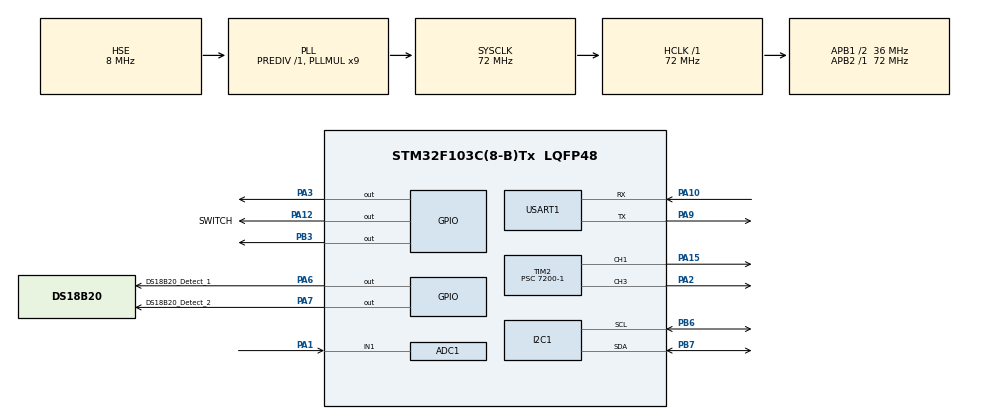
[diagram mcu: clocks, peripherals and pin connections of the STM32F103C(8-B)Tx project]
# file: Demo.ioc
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ADC1.Channel-0\#ChannelRegularConversion=ADC_CHANNEL_1
ADC1.NbrOfConversionFlag=1
ADC1.Rank-0\#ChannelRegularConversion=1
ADC1.SamplingTime-0\#ChannelRegularConversion=ADC_SAMPLETIME_1CYCLE_5
ADC1.master=1
Mcu.Family=STM32F1
Mcu.Name=STM32F103C(8-B)Tx
Mcu.Package=LQFP48
NVIC.PriorityGroup=NVIC_PRIORITYGROUP_4
PA1.Signal=ADCx_IN1
PA10.Mode=Asynchronous
PA10.Signal=USART1_RX
PA12.GPIO_Label=SWITCH
PA12.GPIO_PuPd=GPIO_PULLDOWN
PA12.GPIO_Speed=GPIO_SPEED_FREQ_HIGH
PA12.Signal=GPIO_Output
PA13.Mode=Serial_Wire
PA13.Signal=SYS_JTMS-SWDIO
PA14.Mode=Serial_Wire
PA14.Signal=SYS_JTCK-SWCLK
PA15.Signal=S_TIM2_CH1_ETR
PA2.Signal=S_TIM2_CH3
PA3.GPIO_PuPd=GPIO_PULLDOWN
PA3.Signal=GPIO_Output
PA6.GPIO_Label=DS18B20_Detect_1
PA6.GPIO_PuPd=GPIO_PULLUP
PA6.GPIO_Speed=GPIO_SPEED_FREQ_HIGH
PA6.Signal=GPIO_Output
PA7.GPIO_Label=DS18B20_Detect_2
PA7.GPIO_PuPd=GPIO_PULLUP
PA7.GPIO_Speed=GPIO_SPEED_FREQ_HIGH
PA7.Signal=GPIO_Output
PA9.Mode=Asynchronous
PA9.Signal=USART1_TX
PB3.GPIO_PuPd=GPIO_PULLDOWN
PB3.Signal=GPIO_Output
PB6.Mode=I2C
PB6.Signal=I2C1_SCL
PB7.Mode=I2C
PB7.Signal=I2C1_SDA
PC14-OSC32_IN.Mode=LSE-External-Oscillator
PC14-OSC32_IN.Signal=RCC_OSC32_IN
PC15-OSC32_OUT.Mode=LSE-External-Oscillator
PC15-OSC32_OUT.Signal=RCC_OSC32_OUT
PD0-OSC_IN.Mode=HSE-External-Oscillator
PD0-OSC_IN.Signal=RCC_OSC_IN
PD1-OSC_OUT.Mode=HSE-External-Oscillator
PD1-OSC_OUT.Signal=RCC_OSC_OUT
ProjectManager.HeapSize=0x200
ProjectManager.StackSize=0x400
ProjectManager.TargetToolchain=MDK-ARM V5
RCC.ADCPresc=RCC_ADCPCLK2_DIV6
RCC.AHBFreq_Value=72000000
RCC.APB1CLKDivider=RCC_HCLK_DIV2
RCC.APB1Freq_Value=36000000
RCC.APB1TimFreq_Value=72000000
RCC.APB2Freq_Value=72000000
RCC.APB2TimFreq_Value=72000000
RCC.HCLKFreq_Value=72000000
RCC.PLLMUL=RCC_PLL_MUL9
RCC.PLLSourceVirtual=RCC_PLLSOURCE_HSE
RCC.SYSCLKFreq_VALUE=72000000
RCC.SYSCLKSource=RCC_SYSCLKSOURCE_PLLCLK
RCC.USBFreq_Value=72000000
SH.ADCx_IN1.0=ADC1_IN1,IN1
SH.S_TIM2_CH1_ETR.0=TIM2_CH1,PWM Generation1 CH1
SH.S_TIM2_CH3.0=TIM2_CH3,PWM Generation3 CH3
TIM2.Channel-PWM\ Generation1\ CH1=TIM_CHANNEL_1
TIM2.Channel-PWM\ Generation3\ CH3=TIM_CHANNEL_3
TIM2.Period=100
TIM2.Prescaler=7200-1
TIM2.Pulse-PWM\ Generation1\ CH1=50
TIM2.Pulse-PWM\ Generation3\ CH3=50
TIM3.Prescaler=72
USART1.VirtualMode=VM_ASYNC
VP_TIM2_VS_ClockSourceINT.Mode=Internal
VP_TIM3_VS_ClockSourceINT.Mode=Internal
board=custom

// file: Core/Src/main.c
/* USER CODE BEGIN Header */
/**
  ******************************************************************************
  * @file           : main.c
  * @brief          : Main program body
  ******************************************************************************
  * @attention
  *
  * <h2><center>&copy; Copyright (c) 2021 STMicroelectronics.
  * All rights reserved.</center></h2>
  *
  * This software component is licensed by ST under BSD 3-Clause license,
  * the "License"; You may not use this file except in compliance with the
  * License. You may obtain a copy of the License at:
  *                        opensource.org/licenses/BSD-3-Clause
  *
  ******************************************************************************
  */
/* USER CODE END Header */
#include "main.h"
#include "adc.h"
#include "i2c.h"
#include "tim.h"
#include "usart.h"
#include "gpio.h"

/* USER CODE BEGIN Includes */
#include "ds18b20.h"
#include "oled.h"
#include "stdio.h"
#include "addhot.h"
#include "addwind.h"
#include "switch.h"
/* USER CODE END Includes */

void SystemClock_Config(void);

int main(void)
{
  /* USER CODE BEGIN 1 */
	int i = 0;
	int x = 0;
	int y = 0;
	float Temprature_Value_1;
	float Temprature_Value_2;

	int Temprature_Value_1_Integer;
	int Temprature_Value_1_Decimal;
	int Temprature_Value_2_Integer;
	int Temprature_Value_2_Decimal;

	float Temprature_Threshold_Low = 5;
	float Temprature_Threshold_High = 20;

	uint16_t AD_Value = 0;
	float Vol_Value = 0;
	float Cur_Value = 0;

	int Vol_Value_Integer;
	int Vol_Value_Decimal;
	int Cur_Value_Integer;
	int Cur_Value_Decimal;
  /* USER CODE END 1 */

  /* MCU Configuration--------------------------------------------------------*/

  /* Reset of all peripherals, Initializes the Flash interface and the Systick. */
  HAL_Init();

  /* Configure the system clock */
  SystemClock_Config();

  /* Initialize all configured peripherals */
  MX_GPIO_Init();
  MX_ADC1_Init();
  MX_I2C1_Init();
  MX_TIM2_Init();
  MX_TIM3_Init();
  MX_USART1_UART_Init();
  /* USER CODE BEGIN 2 */
	OLED_Init();
	OLED_Clear();

	OLED_ShowChinese(x, y, 2);
	OLED_ShowChinese(x + 1 * 16, y, 3);
	OLED_ShowChinese(x + 2 * 16, y, 0);
	OLED_ShowChinese(x + 3 * 16, y, 1);
	OLED_ShowChar(x + 4 * 16, y, ':', 16);

	OLED_ShowChinese(x, y + 1 * 2, 4);
	OLED_ShowChinese(x + 1 * 16, y + 1 * 2, 5);
	OLED_ShowChinese(x + 2 * 16, y + 1 * 2, 0);
	OLED_ShowChinese(x + 3 * 16, y + 1 * 2, 1);
	OLED_ShowChar(x + 4 * 16, y + 1 * 2, ':', 16);

	OLED_ShowChinese(x, y + 2 * 2, 4);
	OLED_ShowChinese(x + 1 * 16, y + 2 * 2, 6);
	OLED_ShowChinese(x + 2 * 16, y + 2 * 2, 8);
	OLED_ShowChar(x + 3 * 16, y + 2 * 2, ':', 16);

	OLED_ShowChinese(x, y + 3 * 2, 4);
	OLED_ShowChinese(x + 1 * 16, y + 3 * 2, 7);
	OLED_ShowChinese(x + 2 * 16, y + 3 * 2, 8);
	OLED_ShowChar(x + 3 * 16, y + 3 * 2, ':', 16);

	while(DS18B20_1_Init() && DS18B20_2_Init())
	{
		printf("DS18B20接入失败，请重试!\r\n");
		HAL_Delay(500);
	}
	printf("DS18B20接入成功!\r\n");
  /* USER CODE END 2 */

  /* Infinite loop */
  /* USER CODE BEGIN WHILE */
  while (1)
  {
		i += 1;

		HAL_ADC_Start(&hadc1);
		HAL_ADC_PollForConversion(&hadc1,10);

		if(i % 2 == 0)
		{
			Temprature_Value_1 = DS18B20_1_GetTemperture();
			Temprature_Value_2 = DS18B20_2_GetTemperture();

			Temprature_Value_1_Integer = (int)Temprature_Value_1;
			Temprature_Value_1_Decimal = 10 * (Temprature_Value_1 - (int)Temprature_Value_1);

			Temprature_Value_2_Integer = (int)Temprature_Value_2;
			Temprature_Value_2_Decimal = 10 * (Temprature_Value_2 - (int)Temprature_Value_2);

			AD_Value = HAL_ADC_GetValue(&hadc1);
			Vol_Value = AD_Value*(3.3/4096);
			Cur_Value = Vol_Value / 10;

			Vol_Value_Integer = (int)Vol_Value;
			Vol_Value_Decimal = 100 * (Vol_Value - (int)Vol_Value);

			Cur_Value_Integer = (int)Cur_Value;
			Cur_Value_Decimal = 100 * (Cur_Value - (int)Cur_Value);

			printf("======================\r\n");
			printf("环境温度为：%.1fC\r\n",Temprature_Value_1);
			printf("电池温度为：%.1fC\r\n",Temprature_Value_2);
			printf("ADC采集值为: %d\r\n",AD_Value);
			printf("电压值为: %.2fV\r\n",Vol_Value);
			printf("电流值为: %.2fA\r\n",Cur_Value);
			printf("======================\r\n");
		}

		OLED_ShowNum(x + 9 * 8, y, Temprature_Value_1_Integer, 2, 16);
		OLED_ShowChar(x + 11 * 8, y, '.', 16);
		OLED_ShowNum(x + 12 * 8, y, Temprature_Value_1_Decimal, 1, 16);
		OLED_ShowChar(x + 13 * 8, y, 'C', 16);
		OLED_ShowNum(x + 9 * 8, y + 1 * 2, Temprature_Value_2_Integer, 2, 16);
		OLED_ShowChar(x + 11 * 8, y + 1 * 2, '.', 16);
		OLED_ShowNum(x + 12 * 8, y + 1 * 2, Temprature_Value_2_Decimal, 1, 16);
		OLED_ShowChar(x + 13 * 8, y + 1 * 2, 'C', 16);
		OLED_ShowNum(x + 7 * 8, y + 2 * 2, Vol_Value_Integer, 1, 16);
		OLED_ShowChar(x + 8 * 8, y + 2 * 2, '.', 16);
		OLED_ShowNum(x + 9 * 8, y + 2 * 2, Vol_Value_Decimal, 2, 16);
		OLED_ShowChar(x + 11 * 8, y + 2 * 2, 'V', 16);
		OLED_ShowNum(x + 7 * 8, y + 3 * 2, Cur_Value_Integer, 1, 16);
		OLED_ShowChar(x + 8 * 8, y + 3 * 2, '.', 16);
		OLED_ShowNum(x + 9 * 8, y + 3 * 2, Cur_Value_Decimal, 2, 16);
		OLED_ShowChar(x + 11 * 8, y + 3 * 2, 'A', 16);

		if(Temprature_Value_1 >= Temprature_Threshold_High || Temprature_Value_2 >= Temprature_Threshold_High)
		{
			Disconnect();
			AddWind();
		}
		else if(Temprature_Value_2 <= Temprature_Threshold_Low || Temprature_Value_2 <= Temprature_Threshold_Low)
		{
			AddHot();
		}
		else
		{
			HAL_TIM_PWM_Stop(&htim2,TIM_CHANNEL_1);
			HAL_TIM_PWM_Stop(&htim2,TIM_CHANNEL_3);
		}

		HAL_Delay(1000);
    /* USER CODE END WHILE */

  }
}

void SystemClock_Config(void)
{
  RCC_OscInitTypeDef RCC_OscInitStruct = {0};
  RCC_ClkInitTypeDef RCC_ClkInitStruct = {0};
  RCC_PeriphCLKInitTypeDef PeriphClkInit = {0};

  /** Initializes the RCC Oscillators according to the specified parameters
  * in the RCC_OscInitTypeDef structure.
  */
  RCC_OscInitStruct.OscillatorType = RCC_OSCILLATORTYPE_HSE;
  RCC_OscInitStruct.HSEState = RCC_HSE_ON;
  RCC_OscInitStruct.HSEPredivValue = RCC_HSE_PREDIV_DIV1;
  RCC_OscInitStruct.HSIState = RCC_HSI_ON;
  RCC_OscInitStruct.PLL.PLLState = RCC_PLL_ON;
  RCC_OscInitStruct.PLL.PLLSource = RCC_PLLSOURCE_HSE;
  RCC_OscInitStruct.PLL.PLLMUL = RCC_PLL_MUL9;
  if (HAL_RCC_OscConfig(&RCC_OscInitStruct) != HAL_OK)
  {
    Error_Handler();
  }
  /** Initializes the CPU, AHB and APB buses clocks
  */
  RCC_ClkInitStruct.ClockType = RCC_CLOCKTYPE_HCLK|RCC_CLOCKTYPE_SYSCLK
                              |RCC_CLOCKTYPE_PCLK1|RCC_CLOCKTYPE_PCLK2;
  RCC_ClkInitStruct.SYSCLKSource = RCC_SYSCLKSOURCE_PLLCLK;
  RCC_ClkInitStruct.AHBCLKDivider = RCC_SYSCLK_DIV1;
  RCC_ClkInitStruct.APB1CLKDivider = RCC_HCLK_DIV2;
  RCC_ClkInitStruct.APB2CLKDivider = RCC_HCLK_DIV1;

  if (HAL_RCC_ClockConfig(&RCC_ClkInitStruct, FLASH_LATENCY_2) != HAL_OK)
  {
    Error_Handler();
  }
  PeriphClkInit.PeriphClockSelection = RCC_PERIPHCLK_ADC;
  PeriphClkInit.AdcClockSelection = RCC_ADCPCLK2_DIV6;
  if (HAL_RCCEx_PeriphCLKConfig(&PeriphClkInit) != HAL_OK)
  {
    Error_Handler();
  }
}

void Error_Handler(void)
{
  __disable_irq();
  while (1)
  {
  }
}

/************************ (C) COPYRIGHT STMicroelectronics *****END OF FILE****/
